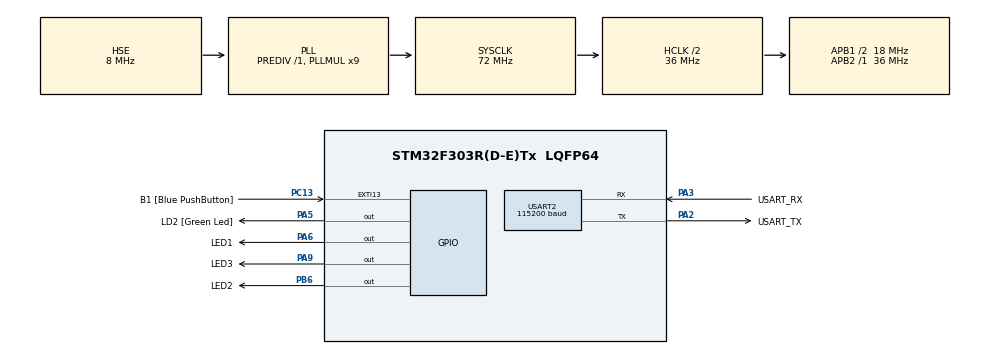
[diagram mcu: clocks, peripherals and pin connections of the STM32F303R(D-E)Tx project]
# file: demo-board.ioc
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Dma.Request0=USART2_RX
Dma.Request1=USART2_TX
Dma.USART2_RX.0.Direction=DMA_PERIPH_TO_MEMORY
Dma.USART2_RX.0.Instance=DMA1_Channel6
Dma.USART2_RX.0.MemDataAlignment=DMA_MDATAALIGN_BYTE
Dma.USART2_RX.0.MemInc=DMA_MINC_ENABLE
Dma.USART2_RX.0.Mode=DMA_NORMAL
Dma.USART2_RX.0.PeriphDataAlignment=DMA_PDATAALIGN_BYTE
Dma.USART2_RX.0.PeriphInc=DMA_PINC_DISABLE
Dma.USART2_RX.0.Priority=DMA_PRIORITY_LOW
Dma.USART2_TX.1.Direction=DMA_MEMORY_TO_PERIPH
Dma.USART2_TX.1.Instance=DMA1_Channel7
Dma.USART2_TX.1.MemDataAlignment=DMA_MDATAALIGN_BYTE
Dma.USART2_TX.1.MemInc=DMA_MINC_ENABLE
Dma.USART2_TX.1.Mode=DMA_NORMAL
Dma.USART2_TX.1.PeriphDataAlignment=DMA_PDATAALIGN_BYTE
Dma.USART2_TX.1.PeriphInc=DMA_PINC_DISABLE
Dma.USART2_TX.1.Priority=DMA_PRIORITY_LOW
FREERTOS.BinarySemaphores01=myBinarySem01,Static,myBinarySem01ControlBlock;myBinarySem02,Static,myBinarySem02ControlBlock;myBinarySem03,Static,myBinarySem03ControlBlock;uartRxSem,Static,uartRxSemControlBlock
FREERTOS.Queues01=myQueue01,16,uint16_t,0,Static,myQueue01Buffer,myQueue01ControlBlock
FREERTOS.Tasks01=defaultTask,8,128,StartDefaultTask,Default,NULL,Static,defaultTaskBuffer,defaultTaskControlBlock;myTask02,16,128,StartTask02,Default,NULL,Static,myTask02Buffer,myTask02ControlBlock;myTask03,16,128,StartTask03,Default,NULL,Static,myTask03Buffer,myTask03ControlBlock;myTask04,16,128,StartTask04,Default,NULL,Static,myTask04Buffer,myTask04ControlBlock;uartRx,40,512,uartRxEntry,Default,NULL,Static,uartRxBuffer,uartRxControlBlock
FREERTOS.Timers01=myTimer01,Callback01,osTimerPeriodic,Default,NULL,Static,myTimer01ControlBlock
Mcu.Family=STM32F3
Mcu.Name=STM32F303R(D-E)Tx
Mcu.Package=LQFP64
NVIC.DMA1_Channel6_IRQn=true\:10\:0\:true\:false\:true\:true\:false\:true
NVIC.DMA1_Channel7_IRQn=true\:10\:0\:true\:false\:true\:true\:false\:true
NVIC.PriorityGroup=NVIC_PRIORITYGROUP_4
NVIC.TIM1_UP_TIM16_IRQn=true\:0\:0\:false\:false\:true\:false\:false\:true
NVIC.TimeBase=TIM1_UP_TIM16_IRQn
NVIC.TimeBaseIP=TIM1
NVIC.USART2_IRQn=true\:10\:0\:true\:false\:true\:true\:true\:true
PA13.GPIO_Label=TMS
PA13.Mode=Serial_Wire
PA13.Signal=SYS_JTMS-SWDIO
PA14.GPIO_Label=TCK
PA14.Mode=Serial_Wire
PA14.Signal=SYS_JTCK-SWCLK
PA2.GPIO_Label=USART_TX
PA2.GPIO_Mode=GPIO_MODE_AF_PP
PA2.GPIO_PuPd=GPIO_NOPULL
PA2.GPIO_Speed=GPIO_SPEED_FREQ_LOW
PA2.Mode=Asynchronous
PA2.Signal=USART2_TX
PA3.GPIO_Label=USART_RX
PA3.GPIO_Mode=GPIO_MODE_AF_PP
PA3.GPIO_PuPd=GPIO_NOPULL
PA3.GPIO_Speed=GPIO_SPEED_FREQ_LOW
PA3.Mode=Asynchronous
PA3.Signal=USART2_RX
PA5.GPIO_Label=LD2 [Green Led]
PA5.GPIO_Mode=GPIO_MODE_OUTPUT_PP
PA5.GPIO_PuPd=GPIO_NOPULL
PA5.GPIO_Speed=GPIO_SPEED_FREQ_LOW
PA5.Signal=GPIO_Output
PA6.GPIO_Label=LED1
PA6.Signal=GPIO_Output
PA9.GPIO_Label=LED3
PA9.Signal=GPIO_Output
PB3.GPIO_Label=SWO
PB3.Signal=SYS_JTDO-TRACESWO
PB6.GPIO_Label=LED2
PB6.Signal=GPIO_Output
PC13.GPIO_Label=B1 [Blue PushButton]
PC13.GPIO_ModeDefaultEXTI=GPIO_MODE_IT_FALLING
PC13.Signal=GPXTI13
PC14-OSC32_IN.Mode=LSE-External-Oscillator
PC14-OSC32_IN.Signal=RCC_OSC32_IN
PC15-OSC32_OUT.Mode=LSE-External-Oscillator
PC15-OSC32_OUT.Signal=RCC_OSC32_OUT
PF0-OSC_IN.Mode=HSE-External-Clock-Source
PF0-OSC_IN.Signal=RCC_OSC_IN
PF1-OSC_OUT.Signal=RCC_OSC_OUT
ProjectManager.HeapSize=0x800
ProjectManager.StackSize=0x2000
ProjectManager.TargetToolchain=STM32CubeIDE
RCC.AHBCLKDivider=RCC_SYSCLK_DIV2
RCC.AHBFreq_Value=36000000
RCC.APB1CLKDivider=RCC_HCLK_DIV2
RCC.APB1Freq_Value=18000000
RCC.APB1TimFreq_Value=36000000
RCC.APB2Freq_Value=36000000
RCC.APB2TimFreq_Value=36000000
RCC.CortexFreq_Value=36000000
RCC.HCLKFreq_Value=36000000
RCC.HSE_VALUE=8000000
RCC.HSI_VALUE=8000000
RCC.PLLM=8
RCC.PLLMUL=RCC_PLL_MUL9
RCC.PLLN=336
RCC.PLLP=RCC_PLLP_DIV4
RCC.PLLQ=7
RCC.PLLSourceVirtual=RCC_PLLSOURCE_HSE
RCC.RCC_PLLsource_Clock_Source_FROM_HSE=RCC_HSE_PREDIV_DIV2
RCC.SYSCLKFreq_VALUE=72000000
RCC.SYSCLKSourceVirtual=RCC_SYSCLKSOURCE_PLLCLK
RCC.USBFreq_Value=72000000
USART2.BaudRate=115200
USART2.VirtualMode-Asynchronous=VM_ASYNC
VP_FREERTOS_VS_CMSIS_V2.Mode=CMSIS_V2
VP_SYS_VS_tim1.Mode=TIM1
board=NUCLEO-F303RE

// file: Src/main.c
/* USER CODE BEGIN Header */
/**
  ******************************************************************************
  * @file           : main.c
  * @brief          : Main program body
  ******************************************************************************
  * @attention
  *
  * <h2><center>&copy; Copyright (c) 2019 STMicroelectronics.
  * All rights reserved.</center></h2>
  *
  * This software component is licensed by ST under Ultimate Liberty license
  * SLA0044, the "License"; You may not use this file except in compliance with
  * the License. You may obtain a copy of the License at:
  *                             www.st.com/SLA0044
  *
  ******************************************************************************
  */
/* USER CODE END Header */

#include "main.h"
#include "cmsis_os.h"
#include "dma.h"
#include "usart.h"
#include "gpio.h"

/* USER CODE BEGIN Includes */
#include "commands.h"
/* USER CODE END Includes */

void SystemClock_Config(void);
void MX_FREERTOS_Init(void);

int main(void)
{

  /* MCU Configuration--------------------------------------------------------*/

  /* Reset of all peripherals, Initializes the Flash interface and the Systick. */
   HAL_Init();

  /* Configure the system clock */
  SystemClock_Config();

  /* Initialize all configured peripherals */
  MX_GPIO_Init();
  MX_USART2_UART_Init();
  MX_DMA_Init();
  /* USER CODE BEGIN 2 */
  receive_start();
  NVIC_SetPriorityGrouping( NVIC_PRIORITYGROUP_4 );
  /* USER CODE END 2 */

  /* Call init function for freertos objects (in freertos.c) */
  MX_FREERTOS_Init();

  /* Start scheduler */
  osKernelStart();

  /* We should never get here as control is now taken by the scheduler */

  /* Infinite loop */
  while (1)
  {

  }
}

void SystemClock_Config(void)
{
  RCC_OscInitTypeDef RCC_OscInitStruct = {0};
  RCC_ClkInitTypeDef RCC_ClkInitStruct = {0};
  RCC_PeriphCLKInitTypeDef PeriphClkInit = {0};

  /** Initializes the CPU, AHB and APB busses clocks
  */
  RCC_OscInitStruct.OscillatorType = RCC_OSCILLATORTYPE_HSE;
  RCC_OscInitStruct.HSEState = RCC_HSE_BYPASS;
  RCC_OscInitStruct.HSIState = RCC_HSI_ON;
  RCC_OscInitStruct.PLL.PLLState = RCC_PLL_ON;
  RCC_OscInitStruct.PLL.PLLSource = RCC_PLLSOURCE_HSE;
  RCC_OscInitStruct.PLL.PLLMUL = RCC_PLL_MUL9;
  RCC_OscInitStruct.PLL.PREDIV = RCC_PREDIV_DIV1;
  if (HAL_RCC_OscConfig(&RCC_OscInitStruct) != HAL_OK)
  {
    Error_Handler();
  }
  /** Initializes the CPU, AHB and APB busses clocks
  */
  RCC_ClkInitStruct.ClockType = RCC_CLOCKTYPE_HCLK|RCC_CLOCKTYPE_SYSCLK
                              |RCC_CLOCKTYPE_PCLK1|RCC_CLOCKTYPE_PCLK2;
  RCC_ClkInitStruct.SYSCLKSource = RCC_SYSCLKSOURCE_PLLCLK;
  RCC_ClkInitStruct.AHBCLKDivider = RCC_SYSCLK_DIV2;
  RCC_ClkInitStruct.APB1CLKDivider = RCC_HCLK_DIV2;
  RCC_ClkInitStruct.APB2CLKDivider = RCC_HCLK_DIV1;

  if (HAL_RCC_ClockConfig(&RCC_ClkInitStruct, FLASH_LATENCY_1) != HAL_OK)
  {
    Error_Handler();
  }
  PeriphClkInit.PeriphClockSelection = RCC_PERIPHCLK_USART2;
  PeriphClkInit.Usart2ClockSelection = RCC_USART2CLKSOURCE_PCLK1;
  if (HAL_RCCEx_PeriphCLKConfig(&PeriphClkInit) != HAL_OK)
  {
    Error_Handler();
  }
}

void HAL_TIM_PeriodElapsedCallback(TIM_HandleTypeDef *htim)
{
  if (htim->Instance == TIM1) {
    HAL_IncTick();
  }
}

void Error_Handler(void)
{
}

/************************ (C) COPYRIGHT STMicroelectronics *****END OF FILE****/

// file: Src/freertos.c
/* USER CODE BEGIN Header */
/**
  ******************************************************************************
  * File Name          : freertos.c
  * Description        : Code for freertos applications
  ******************************************************************************
  * @attention
  *
  * <h2><center>&copy; Copyright (c) 2019 STMicroelectronics.
  * All rights reserved.</center></h2>
  *
  * This software component is licensed by ST under Ultimate Liberty license
  * SLA0044, the "License"; You may not use this file except in compliance with
  * the License. You may obtain a copy of the License at:
  *                             www.st.com/SLA0044
  *
  ******************************************************************************
  */
/* USER CODE END Header */

#include "FreeRTOS.h"
#include "task.h"
#include "main.h"
#include "cmsis_os.h"

/* USER CODE BEGIN Includes */
#include <string.h>
#include "leds.h"
#include "commands.h"
/* USER CODE END Includes */

/* USER CODE BEGIN PD */
#define configASSERT
/* USER CODE END PD */

typedef StaticTask_t osStaticThreadDef_t;
typedef StaticQueue_t osStaticMessageQDef_t;
typedef StaticTimer_t osStaticTimerDef_t;
typedef StaticSemaphore_t osStaticSemaphoreDef_t;
osThreadId_t defaultTaskHandle;
uint32_t defaultTaskBuffer[ 128 ];
osStaticThreadDef_t defaultTaskControlBlock;
osThreadId_t myTask02Handle;
uint32_t myTask02Buffer[ 128 ];
osStaticThreadDef_t myTask02ControlBlock;
osThreadId_t myTask03Handle;
uint32_t myTask03Buffer[ 128 ];
osStaticThreadDef_t myTask03ControlBlock;
osThreadId_t myTask04Handle;
uint32_t myTask04Buffer[ 128 ];
osStaticThreadDef_t myTask04ControlBlock;
osThreadId_t uartRxHandle;
uint32_t uartRxBuffer[ 512 ];
osStaticThreadDef_t uartRxControlBlock;
osMessageQueueId_t myQueue01Handle;
uint8_t myQueue01Buffer[ 16 * sizeof( uint16_t ) ];
osStaticMessageQDef_t myQueue01ControlBlock;
osTimerId_t myTimer01Handle;
osStaticTimerDef_t myTimer01ControlBlock;
osSemaphoreId_t myBinarySem01Handle;
osStaticSemaphoreDef_t myBinarySem01ControlBlock;
osSemaphoreId_t myBinarySem02Handle;
osStaticSemaphoreDef_t myBinarySem02ControlBlock;
osSemaphoreId_t myBinarySem03Handle;
osStaticSemaphoreDef_t myBinarySem03ControlBlock;
osSemaphoreId_t uartRxSemHandle;
osStaticSemaphoreDef_t uartRxSemControlBlock;

/* USER CODE BEGIN FunctionPrototypes */
void HAL_UART_RxCpltCallback(UART_HandleTypeDef *huart){
	if(strstr(huart->pRxBuffPtr, '\n')) {
		receive_stop();
		osSemaphoreRelease(uartRxSemHandle);
	}
}
/* USER CODE END FunctionPrototypes */

void StartDefaultTask(void *argument);
void StartTask02(void *argument);
void StartTask03(void *argument);
void StartTask04(void *argument);
void uartRxEntry(void *argument);
void Callback01(void *argument);

void MX_FREERTOS_Init(void); /* (MISRA C 2004 rule 8.1) */

void MX_FREERTOS_Init(void) {
osKernelInitialize();

  /* Create the semaphores(s) */
  /* definition and creation of myBinarySem01 */
  const osSemaphoreAttr_t myBinarySem01_attributes = {
    .name = "myBinarySem01",
    .cb_mem = &myBinarySem01ControlBlock,
    .cb_size = sizeof(myBinarySem01ControlBlock),
  };
  myBinarySem01Handle = osSemaphoreNew(1, 1, &myBinarySem01_attributes);

  /* definition and creation of myBinarySem02 */
  const osSemaphoreAttr_t myBinarySem02_attributes = {
    .name = "myBinarySem02",
    .cb_mem = &myBinarySem02ControlBlock,
    .cb_size = sizeof(myBinarySem02ControlBlock),
  };
  myBinarySem02Handle = osSemaphoreNew(1, 1, &myBinarySem02_attributes);

  /* definition and creation of myBinarySem03 */
  const osSemaphoreAttr_t myBinarySem03_attributes = {
    .name = "myBinarySem03",
    .cb_mem = &myBinarySem03ControlBlock,
    .cb_size = sizeof(myBinarySem03ControlBlock),
  };
  myBinarySem03Handle = osSemaphoreNew(1, 1, &myBinarySem03_attributes);

  /* definition and creation of uartRxSem */
  const osSemaphoreAttr_t uartRxSem_attributes = {
    .name = "uartRxSem",
    .cb_mem = &uartRxSemControlBlock,
    .cb_size = sizeof(uartRxSemControlBlock),
  };
  uartRxSemHandle = osSemaphoreNew(1, 1, &uartRxSem_attributes);

  /* USER CODE BEGIN RTOS_SEMAPHORES */
  /* add semaphores, ... */
  osSemaphoreAcquire(myBinarySem01Handle, osWaitForever);
  osSemaphoreAcquire(myBinarySem02Handle, osWaitForever);
  osSemaphoreAcquire(myBinarySem03Handle, osWaitForever);
  osSemaphoreAcquire(uartRxSemHandle, osWaitForever);
  /* USER CODE END RTOS_SEMAPHORES */

  /* Create the timer(s) */
  /* definition and creation of myTimer01 */
  const osTimerAttr_t myTimer01_attributes = {
    .name = "myTimer01",
    .cb_mem = &myTimer01ControlBlock,
    .cb_size = sizeof(myTimer01ControlBlock),
  };
  myTimer01Handle = osTimerNew(Callback01, osTimerPeriodic, NULL, &myTimer01_attributes);

  /* Create the queue(s) */
  /* definition and creation of myQueue01 */
  const osMessageQueueAttr_t myQueue01_attributes = {
    .name = "myQueue01",
    .cb_mem = &myQueue01ControlBlock,
    .cb_size = sizeof(myQueue01ControlBlock),
    .mq_mem = &myQueue01Buffer,
    .mq_size = sizeof(myQueue01Buffer)
  };
  myQueue01Handle = osMessageQueueNew (16, sizeof(uint16_t), &myQueue01_attributes);

  /* Create the thread(s) */
  /* definition and creation of defaultTask */
  const osThreadAttr_t defaultTask_attributes = {
    .name = "defaultTask",
    .stack_mem = &defaultTaskBuffer[0],
    .stack_size = sizeof(defaultTaskBuffer),
    .cb_mem = &defaultTaskControlBlock,
    .cb_size = sizeof(defaultTaskControlBlock),
    .priority = (osPriority_t) osPriorityLow,
  };
  defaultTaskHandle = osThreadNew(StartDefaultTask, NULL, &defaultTask_attributes);

  /* definition and creation of myTask02 */
  const osThreadAttr_t myTask02_attributes = {
    .name = "myTask02",
    .stack_mem = &myTask02Buffer[0],
    .stack_size = sizeof(myTask02Buffer),
    .cb_mem = &myTask02ControlBlock,
    .cb_size = sizeof(myTask02ControlBlock),
    .priority = (osPriority_t) osPriorityBelowNormal,
  };
  myTask02Handle = osThreadNew(StartTask02, NULL, &myTask02_attributes);

  /* definition and creation of myTask03 */
  const osThreadAttr_t myTask03_attributes = {
    .name = "myTask03",
    .stack_mem = &myTask03Buffer[0],
    .stack_size = sizeof(myTask03Buffer),
    .cb_mem = &myTask03ControlBlock,
    .cb_size = sizeof(myTask03ControlBlock),
    .priority = (osPriority_t) osPriorityBelowNormal1,
  };
  myTask03Handle = osThreadNew(StartTask03, NULL, &myTask03_attributes);

  /* definition and creation of myTask04 */
  const osThreadAttr_t myTask04_attributes = {
    .name = "myTask04",
    .stack_mem = &myTask04Buffer[0],
    .stack_size = sizeof(myTask04Buffer),
    .cb_mem = &myTask04ControlBlock,
    .cb_size = sizeof(myTask04ControlBlock),
    .priority = (osPriority_t) osPriorityBelowNormal2,
  };
  myTask04Handle = osThreadNew(StartTask04, NULL, &myTask04_attributes);

  /* definition and creation of uartRx */
  const osThreadAttr_t uartRx_attributes = {
    .name = "uartRx",
    .stack_mem = &uartRxBuffer[0],
    .stack_size = sizeof(uartRxBuffer),
    .cb_mem = &uartRxControlBlock,
    .cb_size = sizeof(uartRxControlBlock),
    .priority = (osPriority_t) osPriorityHigh,
  };
  uartRxHandle = osThreadNew(uartRxEntry, NULL, &uartRx_attributes);

  /* USER CODE BEGIN RTOS_THREADS */
  /* add threads, ... */
  osThreadTerminate(defaultTaskHandle);
  /* USER CODE END RTOS_THREADS */

}

void StartDefaultTask(void *argument)
{
  for(;;)
  {
    osDelay(1);
  }
}

void StartTask02(void *argument)
{
  /* USER CODE BEGIN StartTask02 */
  uint16_t to_process;
  /* Infinite loop */
  for(;;)
  {
    // osDelay(1);
    osSemaphoreAcquire(myBinarySem01Handle, osWaitForever);
    if(osOK == osMessageQueueGet(myQueue01Handle, &to_process, NULL, 0)){
      send(to_process * 2);
    };
    LED_turn_on(LED_TEST);
    for (uint32_t i = 0; i <  get_duration_task1() * 1000; i++) {	}
//    HAL_Delay(get_duration_task1());
    LED_turn_off(LED_TEST);

  }
  /* USER CODE END StartTask02 */
}

void StartTask03(void *argument)
{
  /* USER CODE BEGIN StartTask03 */
	uint16_t to_process;

  /* Infinite loop */
  for(;;)
  {
	osSemaphoreAcquire(myBinarySem02Handle, osWaitForever);
	if(osOK == osMessageQueueGet(myQueue01Handle, &to_process, NULL, 0)){
      send(to_process * 3);
	};
	LED_turn_on(LED2);
	for (uint32_t i = 0; i <  get_duration_task2() * 1000; i++) {	}
//	HAL_Delay(get_duration_task1());
	LED_turn_off(LED2);

  }
  /* USER CODE END StartTask03 */
}

void StartTask04(void *argument)
{
  /* USER CODE BEGIN StartTask04 */
	  uint16_t to_process;

  /* Infinite loop */
  for(;;)
  {
	osSemaphoreAcquire(myBinarySem03Handle, osWaitForever);
	if(osOK == osMessageQueueGet(myQueue01Handle, &to_process, NULL, 0)){
      send(to_process * 4);
	};
	LED_turn_on(LED3);
	for (uint32_t i = 0; i <  get_duration_task3() * 1000; i++) {	}
//	HAL_Delay(get_duration_task1());
	LED_turn_off(LED3);
  }
  /* USER CODE END StartTask04 */
}

void uartRxEntry(void *argument)
{
  /* USER CODE BEGIN uartRxEntry */
  /* Infinite loop */
  for(;;)
  {
	  // osDelay(1000);
   osSemaphoreAcquire(uartRxSemHandle, osWaitForever);
   parse_commands();
  }
  /* USER CODE END uartRxEntry */
}

/* Callback01 function */
void Callback01(void *argument)
{
  /* USER CODE BEGIN Callback01 */
  release_semaphore(get_semaphore_code_released());
  /* USER CODE END Callback01 */
}

/************************ (C) COPYRIGHT STMicroelectronics *****END OF FILE****/
